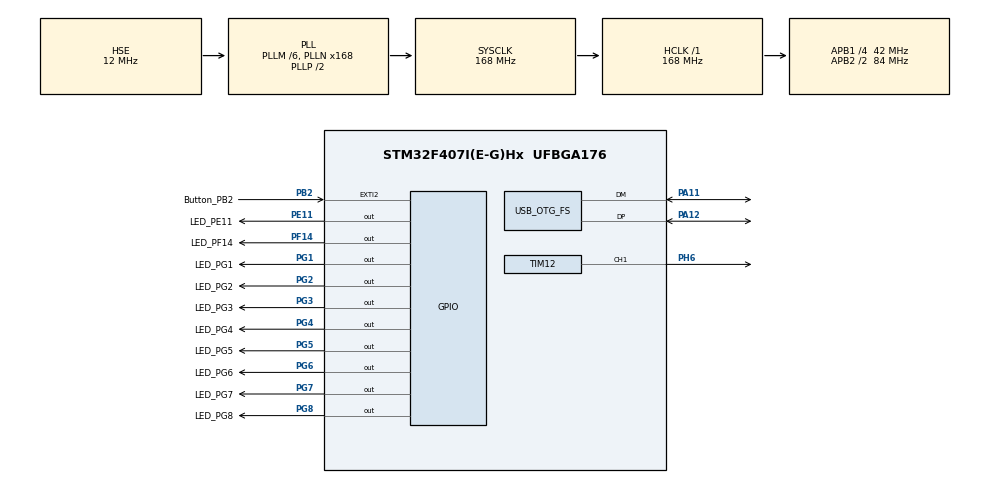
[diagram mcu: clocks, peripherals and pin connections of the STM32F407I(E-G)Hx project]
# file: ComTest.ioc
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Mcu.Family=STM32F4
USB_DEVICE.CLASS_NAME_FS=CDC
PH0-OSC_IN.Signal=RCC_OSC_IN
RCC.CortexFreq_Value=168000000
PG6.Signal=GPIO_Output
PG2.Signal=GPIO_Output
PE11.GPIO_Label=LED_PE11
PG4.Signal=GPIO_Output
PG8.Signal=GPIO_Output
PG6.GPIO_Label=LED_PG6
PA11.Mode=Device_Only
USB_DEVICE.VirtualMode-CDC_FS=Cdc
PG5.GPIO_Label=LED_PG5
RCC.SYSCLKSource=RCC_SYSCLKSOURCE_PLLCLK
ProjectManager.StackSize=0x400
VP_FREERTOS_VS_CMSIS_V2.Mode=CMSIS_V2
PB2.GPIO_ModeDefaultEXTI=GPIO_MODE_IT_RISING_FALLING
PA12.Signal=USB_OTG_FS_DP
RCC.HCLKFreq_Value=168000000
RCC.APB2TimFreq_Value=168000000
RCC.AHBFreq_Value=168000000
PH0-OSC_IN.Mode=HSE-External-Oscillator
RCC.HSE_VALUE=12000000
PB2.Signal=GPXTI2
TIM12.Period=9999
SH.S_TIM12_CH1.0=TIM12_CH1,PWM Generation1 CH1
PA14.Mode=Serial_Wire
PG4.GPIO_Label=LED_PG4
VP_TIM12_VS_ClockSourceINT.Mode=Internal
PB2.GPIO_PuPd=GPIO_PULLUP
PH1-OSC_OUT.Mode=HSE-External-Oscillator
Mcu.Package=UFBGA176
NVIC.OTG_FS_IRQn=true\:0\:0\:false\:false\:true\:false\:false\:true
USB_OTG_FS.VirtualMode=Device_Only
RCC.APB2CLKDivider=RCC_HCLK_DIV2
PF14.Signal=GPIO_Output
RCC.APB1TimFreq_Value=84000000
PG2.GPIO_Label=LED_PG2
FREERTOS.Tasks01=defaultTask,24,128,StartDefaultTask,Default,NULL,Dynamic,NULL,NULL;buttonReport,24,128,buttonReport_entry,As weak,NULL,Dynamic,NULL,NULL;userControl,24,128,userControl_entry,As weak,NULL,Dynamic,NULL,NULL
PG7.Signal=GPIO_Output
USB_DEVICE.VirtualModeFS=Cdc_FS
PG3.Signal=GPIO_Output
PG1.Signal=GPIO_Output
PG5.Signal=GPIO_Output
PF14.GPIO_Label=LED_PF14
RCC.APB1CLKDivider=RCC_HCLK_DIV4
PG8.GPIO_Label=LED_PG8
PA13.Signal=SYS_JTMS-SWDIO
ProjectManager.TargetToolchain=MDK-ARM V5.27
VP_USB_DEVICE_VS_USB_DEVICE_CDC_FS.Mode=CDC_FS
PE11.Signal=GPIO_Output
RCC.LSE_VALUE=32768
board=custom
RCC.VCOOutputFreq_Value=336000000
PG1.GPIO_Label=LED_PG1
TIM12.Channel-PWM\ Generation1\ CH1=TIM_CHANNEL_1
RCC.APB2Freq_Value=84000000
PG7.GPIO_Label=LED_PG7
PH1-OSC_OUT.Signal=RCC_OSC_OUT
PA13.Mode=Serial_Wire
Mcu.Name=STM32F407I(E-G)Hx
RCC.48MHZClocksFreq_Value=48000000
RCC.SYSCLKFreq_VALUE=168000000
PA12.Mode=Device_Only
PA11.Signal=USB_OTG_FS_DM
PA14.Signal=SYS_JTCK-SWCLK
PB2.GPIO_Label=Button_PB2
ProjectManager.HeapSize=0x1000
PH6.Signal=S_TIM12_CH1
RCC.HSI_VALUE=16000000
RCC.PLLQ=7
NVIC.PriorityGroup=NVIC_PRIORITYGROUP_4
RCC.PLLM=6
RCC.PLLN=168
PG3.GPIO_Label=LED_PG3
RCC.APB1Freq_Value=42000000

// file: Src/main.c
/* USER CODE BEGIN Header */
/**
  ******************************************************************************
  * @file           : main.c
  * @brief          : Main program body
  ******************************************************************************
  * @attention
  *
  * <h2><center>&copy; Copyright (c) 2020 STMicroelectronics.
  * All rights reserved.</center></h2>
  *
  * This software component is licensed by ST under Ultimate Liberty license
  * SLA0044, the "License"; You may not use this file except in compliance with
  * the License. You may obtain a copy of the License at:
  *                             www.st.com/SLA0044
  *
  ******************************************************************************
  */
/* USER CODE END Header */
#include "main.h"
#include "cmsis_os.h"
#include "tim.h"
#include "usb_device.h"
#include "gpio.h"

void SystemClock_Config(void);
void MX_FREERTOS_Init(void);

void Digest_Bytes(uint8_t* inputBuffer, uint32_t *bufferLength);
void Execute_Buffer(void);
void buzzer_on(uint16_t psc, uint16_t pwm);
void buzzer_off(void);

GPIO_TypeDef* ports[] = {GPIOG, GPIOG, GPIOG, GPIOG, GPIOG, GPIOG, GPIOG, GPIOG, GPIOF, GPIOE};
uint16_t pins[] = {LED_PG1_Pin, LED_PG2_Pin, LED_PG3_Pin, LED_PG4_Pin, LED_PG5_Pin, LED_PG6_Pin, LED_PG7_Pin,
	                   LED_PG8_Pin, LED_PF14_Pin, LED_PE11_Pin};
uint8_t buffer[3];
uint8_t index = 0;
void Digest_Bytes(uint8_t* inputBuffer, uint32_t *bufferLength)
{
	for (uint32_t i = 0; i<*bufferLength; i++)
	{
		buffer[index] = inputBuffer[i];
		index++;
		if (index == 3)
		{
			Execute_Buffer();
			index = 0;
		}
	}
}

void Execute_Buffer(void)
{
	// Split the buffer
	uint8_t commandType = buffer[0];
	uint8_t commandTarget = buffer[1];
	uint8_t commandAction = buffer[2];

	// Perform actions
	switch (commandType)
	{
		case 1: // Adjust LEDs
			if (commandAction == 1) // Turn LED on
			{
				HAL_GPIO_WritePin(ports[commandTarget], pins[commandTarget], GPIO_PIN_RESET);
			} else if (commandAction == 0) // Turn LED off
			{
				HAL_GPIO_WritePin(ports[commandTarget], pins[commandTarget], GPIO_PIN_SET);
			}
			break;

		case 2: // Adjust the buzzer
			if (commandAction == 1) // Turn the buzzer on
			{
				buzzer_on(commandTarget, 5000);
			} else if (commandAction == 0) // Turn the buzzer off
			{
				buzzer_off();
			}
	}
}

void buzzer_on(uint16_t psc, uint16_t pwm)
{
	__HAL_TIM_PRESCALER(&htim12, psc);
	__HAL_TIM_SetCompare(&htim12, TIM_CHANNEL_1, pwm);
}

void buzzer_off(void)
{
	__HAL_TIM_SetCompare(&htim12, TIM_CHANNEL_1, 0);
}

int main(void)
{

  /* MCU Configuration--------------------------------------------------------*/

  /* Reset of all peripherals, Initializes the Flash interface and the Systick. */
  HAL_Init();

  /* Configure the system clock */
  SystemClock_Config();

  /* Initialize all configured peripherals */
  MX_GPIO_Init();
  MX_TIM12_Init();
  /* USER CODE BEGIN 2 */

  // Start the buzzer
  HAL_TIM_Base_Start_IT(&htim12);
	HAL_TIM_PWM_Start(&htim12, TIM_CHANNEL_1);
  /* USER CODE END 2 */

  /* Init scheduler */
  osKernelInitialize();  /* Call init function for freertos objects (in freertos.c) */
  MX_FREERTOS_Init();
  /* Start scheduler */
  osKernelStart();

  /* We should never get here as control is now taken by the scheduler */
  /* Infinite loop */
  while (1)
  {

  }
}

void SystemClock_Config(void)
{
  RCC_OscInitTypeDef RCC_OscInitStruct = {0};
  RCC_ClkInitTypeDef RCC_ClkInitStruct = {0};

  /** Configure the main internal regulator output voltage
  */
  __HAL_RCC_PWR_CLK_ENABLE();
  __HAL_PWR_VOLTAGESCALING_CONFIG(PWR_REGULATOR_VOLTAGE_SCALE1);
  /** Initializes the RCC Oscillators according to the specified parameters
  * in the RCC_OscInitTypeDef structure.
  */
  RCC_OscInitStruct.OscillatorType = RCC_OSCILLATORTYPE_HSE;
  RCC_OscInitStruct.HSEState = RCC_HSE_ON;
  RCC_OscInitStruct.PLL.PLLState = RCC_PLL_ON;
  RCC_OscInitStruct.PLL.PLLSource = RCC_PLLSOURCE_HSE;
  RCC_OscInitStruct.PLL.PLLM = 6;
  RCC_OscInitStruct.PLL.PLLN = 168;
  RCC_OscInitStruct.PLL.PLLP = RCC_PLLP_DIV2;
  RCC_OscInitStruct.PLL.PLLQ = 7;
  if (HAL_RCC_OscConfig(&RCC_OscInitStruct) != HAL_OK)
  {
    Error_Handler();
  }
  /** Initializes the CPU, AHB and APB buses clocks
  */
  RCC_ClkInitStruct.ClockType = RCC_CLOCKTYPE_HCLK|RCC_CLOCKTYPE_SYSCLK
                              |RCC_CLOCKTYPE_PCLK1|RCC_CLOCKTYPE_PCLK2;
  RCC_ClkInitStruct.SYSCLKSource = RCC_SYSCLKSOURCE_PLLCLK;
  RCC_ClkInitStruct.AHBCLKDivider = RCC_SYSCLK_DIV1;
  RCC_ClkInitStruct.APB1CLKDivider = RCC_HCLK_DIV4;
  RCC_ClkInitStruct.APB2CLKDivider = RCC_HCLK_DIV2;

  if (HAL_RCC_ClockConfig(&RCC_ClkInitStruct, FLASH_LATENCY_5) != HAL_OK)
  {
    Error_Handler();
  }
}

void Error_Handler(void)
{
}

/************************ (C) COPYRIGHT STMicroelectronics *****END OF FILE****/

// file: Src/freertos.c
/* USER CODE BEGIN Header */
/**
  ******************************************************************************
  * File Name          : freertos.c
  * Description        : Code for freertos applications
  ******************************************************************************
  * @attention
  *
  * <h2><center>&copy; Copyright (c) 2020 STMicroelectronics.
  * All rights reserved.</center></h2>
  *
  * This software component is licensed by ST under Ultimate Liberty license
  * SLA0044, the "License"; You may not use this file except in compliance with
  * the License. You may obtain a copy of the License at:
  *                             www.st.com/SLA0044
  *
  ******************************************************************************
  */
/* USER CODE END Header */

#include "FreeRTOS.h"
#include "task.h"
#include "main.h"
#include "cmsis_os.h"
#include <stdbool.h>
#include "tim.h"
#include "usbd_cdc_if.h"

/* Definitions for defaultTask */
osThreadId_t defaultTaskHandle;
const osThreadAttr_t defaultTask_attributes = {
  .name = "defaultTask",
  .priority = (osPriority_t) osPriorityNormal,
  .stack_size = 128 * 4
};
/* Definitions for buttonReport */
osThreadId_t buttonReportHandle;
const osThreadAttr_t buttonReport_attributes = {
  .name = "buttonReport",
  .priority = (osPriority_t) osPriorityNormal,
  .stack_size = 128 * 4
};
/* Definitions for userControl */
osThreadId_t userControlHandle;
const osThreadAttr_t userControl_attributes = {
  .name = "userControl",
  .priority = (osPriority_t) osPriorityNormal,
  .stack_size = 128 * 4
};

void StartDefaultTask(void *argument);
void buttonReport_entry(void *argument);
void userControl_entry(void *argument);

extern void MX_USB_DEVICE_Init(void);
void MX_FREERTOS_Init(void); /* (MISRA C 2004 rule 8.1) */

void MX_FREERTOS_Init(void) {

  /* Create the thread(s) */
  /* creation of defaultTask */
  defaultTaskHandle = osThreadNew(StartDefaultTask, NULL, &defaultTask_attributes);

  /* creation of buttonReport */
  buttonReportHandle = osThreadNew(buttonReport_entry, NULL, &buttonReport_attributes);

  /* creation of userControl */
  userControlHandle = osThreadNew(userControl_entry, NULL, &userControl_attributes);

}

void StartDefaultTask(void *argument)
{
  /* init code for USB_DEVICE */
  MX_USB_DEVICE_Init();
  for(;;)
  {
    osDelay(1);
  }
}

__weak void buttonReport_entry(void *argument)
{
  /* USER CODE BEGIN buttonReport_entry */
  /* Infinite loop */

	bool previousPressed = false;
	bool currentPressed = false;
	//bool buzzing = false;
  for(;;)
  {
		currentPressed = HAL_GPIO_ReadPin(GPIOB, Button_PB2_Pin) == GPIO_PIN_SET;
		uint8_t outputBuffer[1];
		if (currentPressed && !(previousPressed))
		{
			//HAL_GPIO_WritePin(GPIOE, LED_PE11_Pin, GPIO_PIN_RESET);
			//HAL_GPIO_TogglePin(GPIOE, LED_PE11_Pin);

			/*
			if (!buzzing)
			{
				buzzer_on(49, 5000);
				buzzing = true;
			} else
			{
				buzzer_off();
				buzzing = false;
			}
			*/

			outputBuffer[0] = 1;
			CDC_Transmit_FS(outputBuffer, 1);

			previousPressed = true;
		} else if ((!currentPressed) && previousPressed)
		{
			outputBuffer[0] = 0;
			CDC_Transmit_FS(outputBuffer, 1);
			previousPressed = false;
		}
    osDelay(10);
  }
  /* USER CODE END buttonReport_entry */
}

__weak void userControl_entry(void *argument)
{

	for(;;){osDelay(1);} // This disables the following code.

  /* USER CODE BEGIN userControl_entry */
  /* Infinite loop */
	GPIO_TypeDef* ports[] = {GPIOG, GPIOG, GPIOG, GPIOG, GPIOG, GPIOG, GPIOG, GPIOG, GPIOF, GPIOE};
	uint16_t pins[] = {LED_PG1_Pin, LED_PG2_Pin, LED_PG3_Pin, LED_PG4_Pin, LED_PG5_Pin, LED_PG6_Pin, LED_PG7_Pin,
	                   LED_PG8_Pin, LED_PF14_Pin, LED_PE11_Pin};

	//HAL_GPIO_WritePin(GPIOF, LED_PF14_Pin, GPIO_PIN_SET);
	//HAL_GPIO_WritePin(GPIOE, LED_PE11_Pin, GPIO_PIN_SET);
	osDelay(1000);
  for(;;)
  {
		for (char i=0; i<10; i++)
		{
			HAL_GPIO_TogglePin(ports[i], pins[i]);
			//HAL_GPIO_WritePin(ports[i], pins[i], GPIO_PIN_SET);
			osDelay(1000);
		}
    //osDelay(1);
  }
  /* USER CODE END userControl_entry */
}

/************************ (C) COPYRIGHT STMicroelectronics *****END OF FILE****/
